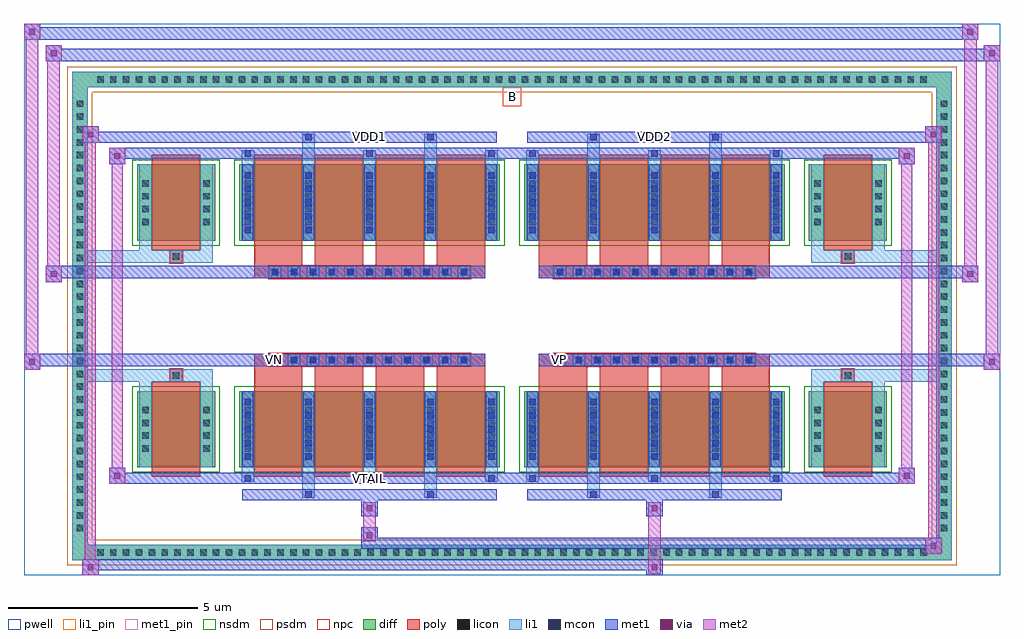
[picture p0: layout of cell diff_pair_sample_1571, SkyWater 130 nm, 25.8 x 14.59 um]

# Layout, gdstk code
import gdstk
lib = gdstk.Library(unit=1e-6, precision=5e-09)
def R(c, l, rs):  # rectangles x0, y0, x1, y1
    for r in rs: c.add(gdstk.rectangle(r[:2], r[2:], *l))
def A(c, l, x, y, w, h, nx, ny, dx, dy):  # array of equal rectangles
    R(c, l, [(x+i*dx, y+j*dy, x+i*dx+w, y+j*dy+h) for i in range(nx) for j in range(ny)])
def P(c, l, *ps):  # polygons
    for p in ps: c.add(gdstk.Polygon(p, *l))
pwell = (64, 44)
diff = (65, 20)
poly = (66, 20)
licon = (66, 44)
li1_pin = (67, 16)
li1 = (67, 20)
mcon = (67, 44)
met1_pin = (68, 16)
met1 = (68, 20)
via = (68, 44)
met2 = (69, 20)
nsdm = (93, 44)
psdm = (94, 20)
npc = (95, 20)

diff_pair_sample_1571 = lib.new_cell('diff_pair_sample_1571')
R(diff_pair_sample_1571, pwell, [(-12.9,-6.86,12.9,7.73), (-10.22,-5.05,-0.01,-0.795), (0.01,-5.05,10.22,-0.795), (-10.22,0.795,-0.01,5.05), (0.01,0.795,10.22,5.05)])
A(diff_pair_sample_1571, diff, -11.085, -6.46, 0.41, 0.41, 65, 2, 0.34, 12.51)
A(diff_pair_sample_1571, diff, -11.63, -5.815, 0.41, 0.41, 1, 34, 0, 0.34)
A(diff_pair_sample_1571, diff, 11.22, -5.815, 0.41, 0.41, 1, 34, 0, 0.34)
R(diff_pair_sample_1571, diff, [(-11.085,-6.46,11.085,-6.05), (-11.63,-5.815,-11.22,5.815), (11.22,-5.815,11.63,5.815), (-9.91,-4.005,-7.85,-1.985), (-7.21,-4.005,-0.32,-1.985), (0.32,-4.005,7.21,-1.985), (7.85,-4.005,9.91,-1.985), (-9.91,1.985,-7.85,4.005), (-7.21,1.985,-0.32,4.005), (0.32,1.985,7.21,4.005), (7.85,1.985,9.91,4.005), (-11.085,6.05,11.085,6.46)])
P(diff_pair_sample_1571, diff, [(11.63,6.46),(-11.63,6.46),(-11.63,-6.05),(-11.22,-6.05),(-11.22,6.05),(11.22,6.05),(11.22,-6.05),(-11.22,-6.05),(-11.63,-6.05),(-11.63,-6.46),(11.63,-6.46)])
A(diff_pair_sample_1571, poly, -6.82, -4.255, 1.28, 2.52, 4, 2, 1.61, 5.99)
A(diff_pair_sample_1571, poly, 0.71, -4.255, 1.28, 2.52, 4, 2, 1.61, 5.99)
A(diff_pair_sample_1571, poly, -6.82, -1.735, 1.28, 0.41, 4, 2, 1.61, 3.06)
A(diff_pair_sample_1571, poly, 0.71, -1.735, 1.28, 0.41, 4, 2, 1.61, 3.06)
A(diff_pair_sample_1571, poly, -6.43, -1.325, 0.33, 0.33, 11, 2, 0.5, 2.32)
A(diff_pair_sample_1571, poly, 1.1, -1.325, 0.33, 0.33, 11, 2, 0.5, 2.32)
R(diff_pair_sample_1571, poly, [(-9.52,-4.255,-8.24,-1.735), (8.24,-4.255,9.52,-1.735), (-9.045,-1.735,-8.715,-1.405), (-9.045,-1.735,-8.715,-1.405), (8.715,-1.735,9.045,-1.405), (8.715,-1.735,9.045,-1.405), (-6.82,-1.325,-0.71,-0.995), (0.71,-1.325,6.82,-0.995), (-6.82,0.995,-0.71,1.325), (0.71,0.995,6.82,1.325), (-9.045,1.405,-8.715,1.735), (-9.045,1.405,-8.715,1.735), (8.715,1.405,9.045,1.735), (8.715,1.405,9.045,1.735), (-9.52,1.735,-8.24,4.255), (8.24,1.735,9.52,4.255)])
A(diff_pair_sample_1571, licon, -10.965, -6.34, 0.17, 0.17, 65, 2, 0.34, 12.51)
A(diff_pair_sample_1571, licon, -11.51, -5.695, 0.17, 0.17, 1, 34, 0, 0.34)
A(diff_pair_sample_1571, licon, 11.34, -5.695, 0.17, 0.17, 1, 34, 0, 0.34)
A(diff_pair_sample_1571, licon, -9.77, -3.59, 0.17, 0.17, 1, 4, 0, 0.34)
A(diff_pair_sample_1571, licon, -8.16, -3.59, 0.17, 0.17, 1, 4, 0, 0.34)
A(diff_pair_sample_1571, licon, -7.07, -3.59, 0.17, 0.17, 5, 4, 1.61, 0.34)
A(diff_pair_sample_1571, licon, 0.46, -3.59, 0.17, 0.17, 5, 4, 1.61, 0.34)
A(diff_pair_sample_1571, licon, 7.99, -3.59, 0.17, 0.17, 1, 4, 0, 0.34)
A(diff_pair_sample_1571, licon, 9.6, -3.59, 0.17, 0.17, 1, 4, 0, 0.34)
A(diff_pair_sample_1571, licon, -6.35, -1.245, 0.17, 0.17, 11, 2, 0.5, 2.32)
A(diff_pair_sample_1571, licon, 1.18, -1.245, 0.17, 0.17, 11, 2, 0.5, 2.32)
A(diff_pair_sample_1571, licon, -9.77, 2.4, 0.17, 0.17, 1, 4, 0, 0.34)
A(diff_pair_sample_1571, licon, -8.16, 2.4, 0.17, 0.17, 1, 4, 0, 0.34)
A(diff_pair_sample_1571, licon, -7.07, 2.4, 0.17, 0.17, 5, 4, 1.61, 0.34)
A(diff_pair_sample_1571, licon, 0.46, 2.4, 0.17, 0.17, 5, 4, 1.61, 0.34)
A(diff_pair_sample_1571, licon, 7.99, 2.4, 0.17, 0.17, 1, 4, 0, 0.34)
A(diff_pair_sample_1571, licon, 9.6, 2.4, 0.17, 0.17, 1, 4, 0, 0.34)
R(diff_pair_sample_1571, licon, [(-8.965,-1.655,-8.795,-1.485), (8.795,-1.655,8.965,-1.485), (-8.965,1.485,-8.795,1.655), (8.795,1.485,8.965,1.655)])
R(diff_pair_sample_1571, li1_pin, [(-0.25,5.55,0.25,6.05)])
A(diff_pair_sample_1571, li1, -11.045, -6.42, 0.33, 0.33, 65, 2, 0.34, 12.51)
A(diff_pair_sample_1571, li1, -11.59, -5.775, 0.33, 0.33, 1, 34, 0, 0.34)
A(diff_pair_sample_1571, li1, 11.26, -5.775, 0.33, 0.33, 1, 34, 0, 0.34)
A(diff_pair_sample_1571, li1, -7.15, -4.38, 0.33, 0.375, 3, 2, 3.22, 8.385)
A(diff_pair_sample_1571, li1, -7.07, -4.38, 0.17, 0.17, 3, 2, 3.22, 8.59)
A(diff_pair_sample_1571, li1, 0.38, -4.38, 0.33, 0.375, 3, 2, 3.22, 8.385)
A(diff_pair_sample_1571, li1, 0.46, -4.38, 0.17, 0.17, 3, 2, 3.22, 8.59)
A(diff_pair_sample_1571, li1, -7.15, -4.005, 0.33, 2.02, 5, 2, 1.61, 5.99)
A(diff_pair_sample_1571, li1, 0.38, -4.005, 0.33, 2.02, 5, 2, 1.61, 5.99)
A(diff_pair_sample_1571, li1, -7.07, -3.8, 0.17, 0.17, 5, 5, 1.61, 0.36)
A(diff_pair_sample_1571, li1, -7.07, -3.8, 0.17, 1.61, 5, 2, 1.61, 5.99)
A(diff_pair_sample_1571, li1, 0.46, -3.8, 0.17, 0.17, 5, 5, 1.61, 0.36)
A(diff_pair_sample_1571, li1, 0.46, -3.8, 0.17, 1.61, 5, 2, 1.61, 5.99)
A(diff_pair_sample_1571, li1, -9.85, -3.67, 0.33, 0.33, 1, 4, 0, 0.34)
A(diff_pair_sample_1571, li1, -8.24, -3.67, 0.33, 0.33, 1, 4, 0, 0.34)
A(diff_pair_sample_1571, li1, -7.15, -3.67, 0.33, 0.33, 5, 4, 1.61, 0.34)
A(diff_pair_sample_1571, li1, 0.38, -3.67, 0.33, 0.33, 5, 4, 1.61, 0.34)
A(diff_pair_sample_1571, li1, 7.91, -3.67, 0.33, 0.33, 1, 4, 0, 0.34)
A(diff_pair_sample_1571, li1, 9.52, -3.67, 0.33, 0.33, 1, 4, 0, 0.34)
A(diff_pair_sample_1571, li1, -6.43, -1.325, 0.33, 0.33, 11, 2, 0.5, 2.32)
A(diff_pair_sample_1571, li1, 1.1, -1.325, 0.33, 0.33, 11, 2, 0.5, 2.32)
A(diff_pair_sample_1571, li1, -7.07, 2.19, 0.17, 0.17, 5, 5, 1.61, 0.36)
A(diff_pair_sample_1571, li1, 0.46, 2.19, 0.17, 0.17, 5, 5, 1.61, 0.36)
A(diff_pair_sample_1571, li1, -9.85, 2.32, 0.33, 0.33, 1, 4, 0, 0.34)
A(diff_pair_sample_1571, li1, -8.24, 2.32, 0.33, 0.33, 1, 4, 0, 0.34)
A(diff_pair_sample_1571, li1, -7.15, 2.32, 0.33, 0.33, 5, 4, 1.61, 0.34)
A(diff_pair_sample_1571, li1, 0.38, 2.32, 0.33, 0.33, 5, 4, 1.61, 0.34)
A(diff_pair_sample_1571, li1, 7.91, 2.32, 0.33, 0.33, 1, 4, 0, 0.34)
A(diff_pair_sample_1571, li1, 9.52, 2.32, 0.33, 0.33, 1, 4, 0, 0.34)
R(diff_pair_sample_1571, li1, [(-11.63,-6.46,-11.22,-6.05), (-11.63,-6.46,-11.22,-6.05), (-11.22,-6.46,11.22,-6.05), (11.22,-6.46,11.63,-6.05), (11.22,-6.46,11.63,-6.05), (-11.63,-6.05,-11.22,6.05), (11.22,-6.05,11.63,6.05), (-5.54,-4.81,-5.21,-4.005), (-5.46,-4.81,-5.29,-4.64), (-2.32,-4.81,-1.99,-4.005), (-2.24,-4.81,-2.07,-4.64), (1.99,-4.81,2.32,-4.005), (2.07,-4.81,2.24,-4.64), (5.21,-4.81,5.54,-4.005), (5.29,-4.81,5.46,-4.64), (-9.85,-4.005,-9.52,-1.985), (-8.24,-4.005,-7.91,-1.985), (7.91,-4.005,8.24,-1.985), (9.52,-4.005,9.85,-1.985), (-9.85,-1.985,-9.52,-1.405), (-8.24,-1.985,-7.91,-1.405), (7.91,-1.985,8.24,-1.405), (9.52,-1.985,9.85,-1.405), (-11.63,-1.735,-9.045,-1.405), (-9.85,-1.735,-9.045,-1.405), (-9.045,-1.735,-8.715,-1.405), (-8.715,-1.735,-7.91,-1.405), (7.91,-1.735,8.715,-1.405), (8.715,-1.735,9.045,-1.405), (8.715,-1.735,11.63,-1.405), (9.045,-1.735,9.85,-1.405), (-11.63,1.405,-9.045,1.735), (-9.85,1.405,-9.045,1.735), (-9.85,1.405,-9.52,1.985), (-9.045,1.405,-8.715,1.735), (-8.715,1.405,-7.91,1.735), (-8.24,1.405,-7.91,1.985), (7.91,1.405,8.715,1.735), (7.91,1.405,8.24,1.985), (8.715,1.405,9.045,1.735), (8.715,1.405,11.63,1.735), (9.045,1.405,9.85,1.735), (9.52,1.405,9.85,1.985), (-9.85,1.985,-9.52,4.005), (-8.24,1.985,-7.91,4.005), (7.91,1.985,8.24,4.005), (9.52,1.985,9.85,4.005), (-5.54,4.005,-5.21,4.81), (-2.32,4.005,-1.99,4.81), (1.99,4.005,2.32,4.81), (5.21,4.005,5.54,4.81), (-5.46,4.64,-5.29,4.81), (-2.24,4.64,-2.07,4.81), (2.07,4.64,2.24,4.81), (5.29,4.64,5.46,4.81), (-11.63,6.05,-11.22,6.46), (-11.63,6.05,-11.22,6.46), (-11.22,6.05,11.22,6.46), (11.22,6.05,11.63,6.46), (11.22,6.05,11.63,6.46)])
A(diff_pair_sample_1571, mcon, -7.07, -4.38, 0.17, 0.17, 3, 2, 3.22, 8.59)
A(diff_pair_sample_1571, mcon, 0.46, -4.38, 0.17, 0.17, 3, 2, 3.22, 8.59)
A(diff_pair_sample_1571, mcon, -7.07, -3.8, 0.17, 0.17, 5, 5, 1.61, 0.36)
A(diff_pair_sample_1571, mcon, 0.46, -3.8, 0.17, 0.17, 5, 5, 1.61, 0.36)
A(diff_pair_sample_1571, mcon, -6.35, -1.245, 0.17, 0.17, 11, 2, 0.5, 2.32)
A(diff_pair_sample_1571, mcon, 1.18, -1.245, 0.17, 0.17, 11, 2, 0.5, 2.32)
A(diff_pair_sample_1571, mcon, -7.07, 2.19, 0.17, 0.17, 5, 5, 1.61, 0.36)
A(diff_pair_sample_1571, mcon, 0.46, 2.19, 0.17, 0.17, 5, 5, 1.61, 0.36)
R(diff_pair_sample_1571, mcon, [(-5.46,-4.81,-5.29,-4.64), (-2.24,-4.81,-2.07,-4.64), (2.07,-4.81,2.24,-4.64), (5.29,-4.81,5.46,-4.64), (-5.46,4.64,-5.29,4.81), (-2.24,4.64,-2.07,4.81), (2.07,4.64,2.24,4.81), (5.29,4.64,5.46,4.81)])
R(diff_pair_sample_1571, met1_pin, [(-3.9,-4.42,-3.63,-4.15), (-6.4,-1.285,-6.13,-1.015), (1.13,-1.285,1.4,-1.015), (-3.9,4.6,-3.63,4.87), (3.63,4.6,3.9,4.87)])
A(diff_pair_sample_1571, met1, -7.13, -4.44, 0.29, 0.29, 3, 2, 3.22, 8.59)
A(diff_pair_sample_1571, met1, 0.4, -4.44, 0.29, 0.29, 3, 2, 3.22, 8.59)
A(diff_pair_sample_1571, met1, -7.13, -4.005, 0.29, 2.02, 5, 2, 1.61, 5.99)
A(diff_pair_sample_1571, met1, 0.4, -4.005, 0.29, 2.02, 5, 2, 1.61, 5.99)
A(diff_pair_sample_1571, met1, -7.13, -3.86, 0.29, 0.29, 5, 5, 1.61, 0.36)
A(diff_pair_sample_1571, met1, 0.4, -3.86, 0.29, 0.29, 5, 5, 1.61, 0.36)
A(diff_pair_sample_1571, met1, -6.41, -1.305, 0.29, 0.29, 11, 2, 0.5, 2.32)
A(diff_pair_sample_1571, met1, 1.12, -1.305, 0.29, 0.29, 11, 2, 0.5, 2.32)
A(diff_pair_sample_1571, met1, -7.13, 2.13, 0.29, 0.29, 5, 5, 1.61, 0.36)
A(diff_pair_sample_1571, met1, 0.4, 2.13, 0.29, 0.29, 5, 5, 1.61, 0.36)
R(diff_pair_sample_1571, met1, [(-11.36,-6.86,-10.93,-6.43), (3.55,-6.86,3.98,-6.43), (-11.36,-6.72,3.98,-6.43), (10.93,-6.29,11.36,-5.86), (-3.98,-6.15,11.36,-5.86), (-3.98,-6.01,-3.55,-5.58), (-3.98,-5.3,-3.55,-4.87), (3.55,-5.3,3.98,-4.87), (-7.13,-4.87,-0.4,-4.58), (-5.52,-4.87,-5.23,-4.58), (-2.3,-4.87,-2.01,-4.58), (0.4,-4.87,7.13,-4.58), (2.01,-4.87,2.3,-4.58), (5.23,-4.87,5.52,-4.58), (-10.65,-4.44,-10.22,-4.01), (-10.65,-4.44,-7.13,-4.15), (-7.13,-4.44,-0.4,-4.15), (-0.4,-4.44,0.4,-4.15), (0.4,-4.44,7.13,-4.15), (7.13,-4.44,10.65,-4.15), (10.22,-4.44,10.65,-4.01), (-12.9,-1.425,-12.47,-0.995), (12.47,-1.425,12.9,-0.995), (-12.9,-1.325,-0.71,-0.995), (-6.82,-1.325,-0.71,-0.995), (0.71,-1.325,6.82,-0.995), (0.71,-1.325,12.9,-0.995), (-12.33,0.895,-11.9,1.325), (11.9,0.895,12.33,1.325), (-12.33,0.995,-6.82,1.325), (-6.82,0.995,-0.71,1.325), (0.71,0.995,6.82,1.325), (6.82,0.995,12.33,1.325), (-10.65,4.01,-10.22,4.44), (10.22,4.01,10.65,4.44), (-10.65,4.15,-7.13,4.44), (-7.13,4.15,-0.4,4.44), (-0.4,4.15,0.4,4.44), (0.4,4.15,7.13,4.44), (7.13,4.15,10.65,4.44), (-11.36,4.58,-10.93,5.01), (-11.36,4.58,-7.13,4.87), (-7.13,4.58,-0.4,4.87), (-5.52,4.58,-5.23,4.87), (-2.3,4.58,-2.01,4.87), (0.4,4.58,7.13,4.87), (2.01,4.58,2.3,4.87), (5.23,4.58,5.52,4.87), (7.13,4.58,11.36,4.87), (10.93,4.58,11.36,5.01), (-12.33,6.73,-11.9,7.16), (-12.33,6.73,-10.22,7.06), (-10.22,6.73,10.22,7.06), (10.22,6.73,12.9,7.06), (12.47,6.73,12.9,7.16), (-12.9,7.3,-12.47,7.73), (-12.9,7.3,-10.22,7.63), (-10.22,7.3,10.22,7.63), (10.22,7.3,12.33,7.63), (11.9,7.3,12.33,7.73)])
R(diff_pair_sample_1571, via, [(-11.22,-6.72,-11.07,-6.57), (3.69,-6.72,3.84,-6.57), (11.07,-6.15,11.22,-6), (-3.84,-5.87,-3.69,-5.72), (-3.84,-5.16,-3.69,-5.01), (3.69,-5.16,3.84,-5.01), (-10.51,-4.3,-10.36,-4.15), (10.36,-4.3,10.51,-4.15), (-12.76,-1.285,-12.61,-1.135), (12.61,-1.285,12.76,-1.135), (-12.19,1.035,-12.04,1.185), (12.04,1.035,12.19,1.185), (-10.51,4.15,-10.36,4.3), (10.36,4.15,10.51,4.3), (-11.22,4.72,-11.07,4.87), (11.07,4.72,11.22,4.87), (-12.19,6.87,-12.04,7.02), (12.61,6.87,12.76,7.02), (-12.76,7.44,-12.61,7.59), (12.04,7.44,12.19,7.59)])
R(diff_pair_sample_1571, met2, [(-11.36,-6.86,-10.93,-6.43), (-11.29,-6.86,-11,5.01), (-11,-6.86,-10.93,-6.43), (-11.31,-6.81,-10.98,-6.48), (3.6,-6.81,3.93,-6.48), (3.6,-6.48,3.93,-5.25), (10.93,-6.29,11.36,-5.86), (11,-6.29,11.29,5.01), (11.29,-6.29,11.36,-5.86), (10.98,-6.24,11.31,-5.91), (-3.93,-5.96,-3.6,-5.63), (-3.93,-5.63,-3.6,-5.25), (-3.93,-5.25,-3.6,-4.92), (3.6,-5.25,3.93,-4.92), (-10.65,-4.44,-10.22,-4.01), (-10.58,-4.44,-10.29,4.44), (-10.29,-4.44,-10.22,-4.01), (10.22,-4.44,10.65,-4.01), (10.29,-4.44,10.58,4.44), (10.58,-4.44,10.65,-4.01), (-10.6,-4.39,-10.27,-4.06), (10.27,-4.39,10.6,-4.06), (-12.9,-1.425,-12.47,-0.995), (-12.85,-1.425,-12.52,7.73), (-12.52,-1.425,-12.47,-0.995), (12.47,-1.425,12.9,-0.995), (12.52,-1.425,12.85,7.16), (12.85,-1.425,12.9,-0.995), (-12.85,-1.375,-12.52,-1.045), (12.52,-1.375,12.85,-1.045), (-12.33,0.895,-11.9,1.325), (-12.28,0.895,-11.95,7.16), (-11.95,0.895,-11.9,1.325), (11.9,0.895,12.33,1.325), (11.95,0.895,12.28,7.73), (12.28,0.895,12.33,1.325), (-12.28,0.945,-11.95,1.275), (11.95,0.945,12.28,1.275), (-10.65,4.01,-10.22,4.44), (-10.29,4.01,-10.22,4.44), (10.22,4.01,10.65,4.44), (10.58,4.01,10.65,4.44), (-10.6,4.06,-10.27,4.39), (10.27,4.06,10.6,4.39), (-11.36,4.58,-10.93,5.01), (-11,4.58,-10.93,5.01), (10.93,4.58,11.36,5.01), (11.29,4.58,11.36,5.01), (-11.31,4.63,-10.98,4.96), (10.98,4.63,11.31,4.96), (-12.33,6.73,-11.9,7.16), (-11.95,6.73,-11.9,7.16), (12.47,6.73,12.9,7.16), (12.85,6.73,12.9,7.16), (-12.28,6.78,-11.95,7.11), (12.52,6.78,12.85,7.11), (-12.9,7.3,-12.47,7.73), (-12.52,7.3,-12.47,7.73), (11.9,7.3,12.33,7.73), (12.28,7.3,12.33,7.73), (-12.85,7.35,-12.52,7.68), (11.95,7.35,12.28,7.68)])
R(diff_pair_sample_1571, nsdm, [(-10.04,-4.135,-7.72,-1.855), (-7.34,-4.135,-0.19,-1.855), (0.19,-4.135,7.34,-1.855), (7.72,-4.135,10.04,-1.855), (-10.04,1.855,-7.72,4.135), (-7.34,1.855,-0.19,4.135), (0.19,1.855,7.34,4.135), (7.72,1.855,10.04,4.135)])
P(diff_pair_sample_1571, psdm, [(11.76,6.59),(-11.76,6.59),(-11.76,-5.92),(-11.09,-5.92),(-11.09,5.92),(11.09,5.92),(11.09,-5.92),(-11.09,-5.92),(-11.76,-5.92),(-11.76,-6.59),(11.76,-6.59)])
A(diff_pair_sample_1571, npc, -6.45, -1.345, 0.37, 0.37, 11, 2, 0.5, 2.32)
A(diff_pair_sample_1571, npc, 1.08, -1.345, 0.37, 0.37, 11, 2, 0.5, 2.32)
R(diff_pair_sample_1571, npc, [(-9.065,-1.755,-8.695,-1.385), (8.695,-1.755,9.065,-1.385), (-6.45,-1.345,-5.58,-0.975), (-6.45,-1.345,-5.58,-0.975), (-5.95,-1.345,-5.08,-0.975), (-5.95,-1.345,-5.08,-0.975), (-5.45,-1.345,-4.58,-0.975), (-5.45,-1.345,-4.58,-0.975), (-4.95,-1.345,-4.08,-0.975), (-4.95,-1.345,-4.08,-0.975), (-4.45,-1.345,-3.58,-0.975), (-4.45,-1.345,-3.58,-0.975), (-3.95,-1.345,-3.08,-0.975), (-3.95,-1.345,-3.08,-0.975), (-3.45,-1.345,-2.58,-0.975), (-3.45,-1.345,-2.58,-0.975), (-2.95,-1.345,-2.08,-0.975), (-2.95,-1.345,-2.08,-0.975), (-2.45,-1.345,-1.58,-0.975), (-2.45,-1.345,-1.58,-0.975), (-1.95,-1.345,-1.08,-0.975), (-1.95,-1.345,-1.08,-0.975), (1.08,-1.345,1.95,-0.975), (1.08,-1.345,1.95,-0.975), (1.58,-1.345,2.45,-0.975), (1.58,-1.345,2.45,-0.975), (2.08,-1.345,2.95,-0.975), (2.08,-1.345,2.95,-0.975), (2.58,-1.345,3.45,-0.975), (2.58,-1.345,3.45,-0.975), (3.08,-1.345,3.95,-0.975), (3.08,-1.345,3.95,-0.975), (3.58,-1.345,4.45,-0.975), (3.58,-1.345,4.45,-0.975), (4.08,-1.345,4.95,-0.975), (4.08,-1.345,4.95,-0.975), (4.58,-1.345,5.45,-0.975), (4.58,-1.345,5.45,-0.975), (5.08,-1.345,5.95,-0.975), (5.08,-1.345,5.95,-0.975), (5.58,-1.345,6.45,-0.975), (5.58,-1.345,6.45,-0.975), (-6.45,0.975,-5.58,1.345), (-6.45,0.975,-5.58,1.345), (-5.95,0.975,-5.08,1.345), (-5.95,0.975,-5.08,1.345), (-5.45,0.975,-4.58,1.345), (-5.45,0.975,-4.58,1.345), (-4.95,0.975,-4.08,1.345), (-4.95,0.975,-4.08,1.345), (-4.45,0.975,-3.58,1.345), (-4.45,0.975,-3.58,1.345), (-3.95,0.975,-3.08,1.345), (-3.95,0.975,-3.08,1.345), (-3.45,0.975,-2.58,1.345), (-3.45,0.975,-2.58,1.345), (-2.95,0.975,-2.08,1.345), (-2.95,0.975,-2.08,1.345), (-2.45,0.975,-1.58,1.345), (-2.45,0.975,-1.58,1.345), (-1.95,0.975,-1.08,1.345), (-1.95,0.975,-1.08,1.345), (1.08,0.975,1.95,1.345), (1.08,0.975,1.95,1.345), (1.58,0.975,2.45,1.345), (1.58,0.975,2.45,1.345), (2.08,0.975,2.95,1.345), (2.08,0.975,2.95,1.345), (2.58,0.975,3.45,1.345), (2.58,0.975,3.45,1.345), (3.08,0.975,3.95,1.345), (3.08,0.975,3.95,1.345), (3.58,0.975,4.45,1.345), (3.58,0.975,4.45,1.345), (4.08,0.975,4.95,1.345), (4.08,0.975,4.95,1.345), (4.58,0.975,5.45,1.345), (4.58,0.975,5.45,1.345), (5.08,0.975,5.95,1.345), (5.08,0.975,5.95,1.345), (5.58,0.975,6.45,1.345), (5.58,0.975,6.45,1.345), (-9.065,1.385,-8.695,1.755), (8.695,1.385,9.065,1.755)])
diff_pair_sample_1571.add(gdstk.Label('VTAIL', (-3.765,-4.285), layer=68, texttype=5))
diff_pair_sample_1571.add(gdstk.Label('VN', (-6.265,-1.15), layer=68, texttype=5))
diff_pair_sample_1571.add(gdstk.Label('VP', (1.265,-1.15), layer=68, texttype=5))
diff_pair_sample_1571.add(gdstk.Label('B', (0,5.8), layer=67, texttype=5))
diff_pair_sample_1571.add(gdstk.Label('VDD2', (3.765,4.735), layer=68, texttype=5))
diff_pair_sample_1571.add(gdstk.Label('VDD1', (-3.765,4.735), layer=68, texttype=5))

lib.write_gds('diff_pair_sample_1571.gds')
